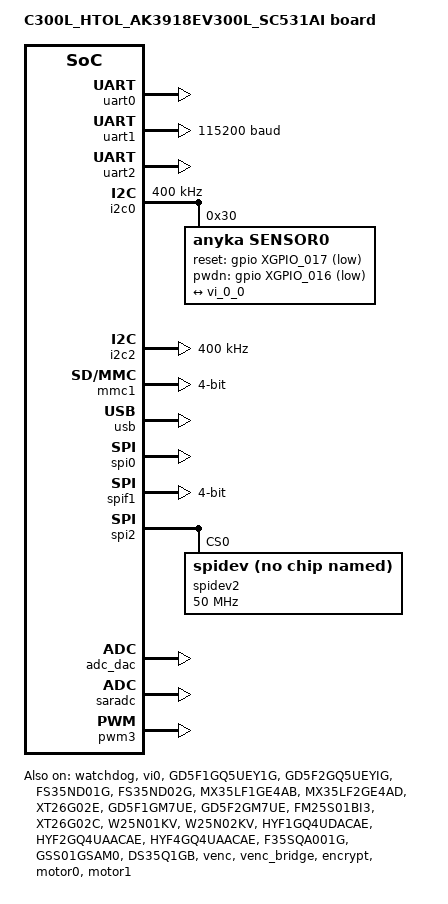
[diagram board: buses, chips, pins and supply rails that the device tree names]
/*
 * AK3918EV300L dev board dts
 *
 * Copyright (C) 2020 Anyka(Guangzhou) Microelectronics Technology Co., Ltd.
 *
 * This program is free software; you can redistribute it and/or modify
 * it under the terms of the GNU General Public License as published by
 * the Free Software Foundation; either version 2 of the License, or
 * (at your option) any later version.
 *
 * This program is distributed in the hope that it will be useful,
 * but WITHOUT ANY WARRANTY; without even the implied warranty of
 * MERCHANTABILITY or FITNESS FOR A PARTICULAR PURPOSE.  See the
 * GNU General Public License for more details.
 */

/dts-v1/;
#include "anycloud_ak3918ev300l_peri_max_freq.dtsi"
#include "anycloud_norflash.dtsi"
#include "anycloud_nandflash.dtsi"

/ {
    compatible = "anyka,ak3918ev300l";
    model = "C300L_HTOL_AK3918EV300L_SC531AI board";
    version = "V1.0.00";
};

&gpio {
    /*
    * "anyka,function": func index, please refer to dt-bindings/pinctrl/ak3918ev300l_pinctrl.h
    * "anyka,pull": configuration of the pins
    * bit[7:0]: pull up/down configuration
    *     bit[0]: pull up or pull down selection, 1 means select pull down, 0 means select pull up
    *     bit[4]: pull up or pull down enable, 1 means enable pull up&down function, 0 means disable fuction
    * !!! Notice that not all pin support pull up and pull down. Please refer to the programer's guide.
    * bit[11:8]: driver strength configuration.
    *     bit[9:8] drive strength.
    * bit[12:15] gpio direction
    *     bit[12]: direction. 0 is output, 1 is input
    *     bit[15]: enable direction. 1 is enable
    * bit[19:16]: input enable configuration
    *     bit[16]: 1 means enable input, 0 means disable input.
    * bit[20-23]: gpio output level
    *     bit[20]: 0 is low level, 1 is high level
    *     bit[23]: enable gpio output level. 1 is enable
    * bit[31:24]: pin slew rate configuration
    *     bit[24]: 1 means enable slew rate, 0 means disable slew rate.
    * !!! Notice OTHER bits which not mentioned please set to 0.
    */

    dvp0_12bits_pins: dvp0_12bits_pins {
        anyka,pins = <XGPIO_022
                         XGPIO_100
                         XGPIO_009
                         XGPIO_010
                         XGPIO_017
                         XGPIO_018
                         XGPIO_019
                         XGPIO_020
                         XGPIO_023
                         XGPIO_021
                         XGPIO_022
                         XGPIO_099
                         XGPIO_102
                         XGPIO_101
                         XGPIO_103
                         XGPIO_104>;
        anyka,function = <XGPIO_022_FUNC_CSI0_SCLK
                            XGPIO_100_FUNC_CSI_CLK
                            XGPIO_009_FUNC_CSI_HSYNC
                            XGPIO_010_FUNC_CSI_VSYNC
                            XGPIO_017_FUNC_CSI_D0
                            XGPIO_018_FUNC_CSI_D1
                            XGPIO_019_FUNC_CSI_D2
                            XGPIO_020_FUNC_CSI_D3
                            XGPIO_023_FUNC_CSI_D4
                            XGPIO_021_FUNC_CSI_D5
                            XGPIO_022_FUNC_CSI_D6
                            XGPIO_099_FUNC_CSI_D7
                            XGPIO_102_FUNC_CSI_D8
                            XGPIO_101_FUNC_CSI_D9
                            XGPIO_103_FUNC_CSI_D10
                            XGPIO_104_FUNC_CSI_D11>;
        anyka,pull = <0x00010010>;
    };

    dvp0_10bits_pins: dvp0_10bits_pins {
        anyka,pins = <XGPIO_100		//pclk
                         XGPIO_009	//hsync
                         XGPIO_010	//vsync
                         XGPIO_019	//d2
                         XGPIO_020	//d3
                         XGPIO_023	//d4
                         XGPIO_021	//d5
                         XGPIO_022	//d6
                         XGPIO_099	//d7
                         XGPIO_102	//d8
                         XGPIO_101	//d9
                         XGPIO_103	//d10
                         XGPIO_104>;//d11
        anyka,function = <XGPIO_100_FUNC_CSI_CLK
                            XGPIO_009_FUNC_CSI_HSYNC
                            XGPIO_010_FUNC_CSI_VSYNC
                            XGPIO_019_FUNC_CSI_D2
                            XGPIO_020_FUNC_CSI_D3
                            XGPIO_023_FUNC_CSI_D4
                            XGPIO_021_FUNC_CSI_D5
                            XGPIO_022_FUNC_CSI_D6
                            XGPIO_099_FUNC_CSI_D7
                            XGPIO_102_FUNC_CSI_D8
                            XGPIO_101_FUNC_CSI_D9
                            XGPIO_103_FUNC_CSI_D10
                            XGPIO_104_FUNC_CSI_D11>;
        anyka,pull = <0x00010010>;
    };

    dvp0_8bits_pins: dvp0_8bits_pins {
        anyka,pins = <XGPIO_022
                         XGPIO_100
                         XGPIO_009
                         XGPIO_010
                         XGPIO_017
                         XGPIO_018
                         XGPIO_019
                         XGPIO_020
                         XGPIO_023
                         XGPIO_021
                         XGPIO_022
                         XGPIO_099>;
        anyka,function = <XGPIO_022_FUNC_CSI0_SCLK
                            XGPIO_100_FUNC_CSI_CLK
                            XGPIO_009_FUNC_CSI_HSYNC
                            XGPIO_010_FUNC_CSI_VSYNC
                            XGPIO_017_FUNC_CSI_D0
                            XGPIO_018_FUNC_CSI_D1
                            XGPIO_019_FUNC_CSI_D2
                            XGPIO_020_FUNC_CSI_D3
                            XGPIO_023_FUNC_CSI_D4
                            XGPIO_021_FUNC_CSI_D5
                            XGPIO_022_FUNC_CSI_D6
                            XGPIO_099_FUNC_CSI_D7>;
        anyka,pull = <0x00010010>;
    };

    mipi0_3lane_pins: mipi0_3lane_pins {
        anyka,pins = <XGPIO_099
                        XGPIO_100
                        XGPIO_101
                        XGPIO_102
                        XGPIO_103
                        XGPIO_104>;
        anyka,function = <XGPIO_099_FUNC_MIPI_RX_L0P
                            XGPIO_100_FUNC_MIPI_RX_L0N
                            XGPIO_101_FUNC_MIPI_RX_L1P
                            XGPIO_102_FUNC_MIPI_RX_L1N
                            XGPIO_103_FUNC_MIPI_RX_L2P
                            XGPIO_104_FUNC_MIPI_RX_L2N>;
        anyka,pull = <0x00010010>;
    };

    csi0_sclk_pin: csi0_sclk_pin {
        anyka,pins = <XGPIO_022>;
        anyka,function = <XGPIO_022_FUNC_CSI0_SCLK>;
        anyka,pull = <0x00010010>;
    };

    i2c0_pins: i2c0_pins {
        anyka,pins = <XGPIO_020 XGPIO_021>;
        anyka,function = <XGPIO_020_FUNC_TWI0_SDA XGPIO_021_FUNC_TWI0_SCL>;
        anyka,pull = <0x10010>;
    };

    infrared_led_pins: infrared_led_pins {
        anyka,pins = <XGPIO_010>;
        anyka,function = <XGPIO_010_FUNC_GPIO10>;
        anyka,pull = <0x10>;
    };

    mci1_pins: mci1_pins {
        anyka,pins = <XGPIO_036
                        XGPIO_035
                        XGPIO_034
                        XGPIO_033
                        XGPIO_032
                        XGPIO_031>;
        anyka,function = <XGPIO_036_FUNC_SDIO0_DATA1
                            XGPIO_035_FUNC_SDIO0_DATA0
                            XGPIO_034_FUNC_SDIO0_MCLK
                            XGPIO_033_FUNC_SDIO0_CMD
                            XGPIO_032_FUNC_SDIO0_DATA3
                            XGPIO_031_FUNC_SDIO0_DATA2>;
        anyka,pull = <0x10010>;
    };

    /* 
     *  When using DATA3 as plugin and plugoff detect:
     *  1. Set XGPIO_032_FUNC_SDIO0_DATA3 pull up disable and pull down disable
     *  2. Using PULLDOWN RESISTANCE on PCB, for example, 510   KΩ.
    */      
    mci1_pins_d3_detect_mode: mci1_pins_d3_detect_mode {
        anyka,pins = <XGPIO_036
                        XGPIO_035
                        XGPIO_034
                        XGPIO_033
                        XGPIO_032
                        XGPIO_031>;
        anyka,function = <XGPIO_036_FUNC_SDIO0_DATA1
                            XGPIO_035_FUNC_SDIO0_DATA0
                            XGPIO_034_FUNC_SDIO0_MCLK
                            XGPIO_033_FUNC_SDIO0_CMD
                            XGPIO_032_FUNC_SDIO0_DATA3
                            XGPIO_031_FUNC_SDIO0_DATA2>;
        anyka,pull = <  0x10010 
                        0x10010
                        0x10010
                        0x10010
                        0x10001  /* disable pull down and pull up */
                        0x10010 >;
    };

    mci1_idle_pins: mci1_idle_pins {
        anyka,pins = <XGPIO_036
                        XGPIO_035
                        XGPIO_034
                        XGPIO_033
                        XGPIO_032
                        XGPIO_031>;
        anyka,function = <XGPIO_036_FUNC_GPIO36
                            XGPIO_035_FUNC_GPIO35
                            XGPIO_034_FUNC_GPIO34
                            XGPIO_033_FUNC_GPIO33
                            XGPIO_032_FUNC_GPIO32
                            XGPIO_031_FUNC_GPIO31>;
        anyka,pull = <0x0>;
    };

    tf_det_pins: tf_det_pins {
        anyka,pins = <XGPIO_098>;
        anyka,function = <XGPIO_098_FUNC_GPIO98>;
        anyka,pull = <0x10010>;
    };

    tf_en_pins: tf_en_pins {
        anyka,pins = <XGPIO_050>;
        anyka,function = <XGPIO_050_FUNC_GPIO50>;
        anyka,pull = <0x10010>;
    };

    speaker_en_pins: speaker_en_pins {
        anyka,pins = <XGPIO_006>;
        anyka,function = <XGPIO_006_FUNC_GPIO6>;
		anyka,pull = <0x00808000>;
    };

    state_led_pin: state_led_pin {
        anyka,pins = <XGPIO_065>;
        anyka,function = <XGPIO_065_FUNC_GPIO65>;
        anyka,pull = <0x10>;
    };
    
    i2c2_pins: i2c2_pins {
        anyka,pins = <XGPIO_004 XGPIO_005>;
        anyka,function = <XGPIO_004_FUNC_TWI2_SCL XGPIO_005_FUNC_TWI2_SDA>;
        anyka,pull = <0x10010>;
    };


    pwm3_pins: pwm3_pins {
        anyka,pins = <XGPIO_002>;
        anyka,function = <XGPIO_002_FUNC_PWM3>;
        anyka,pull = <0x10>;
    };

    pwm3_pins_idle: pwm3_pins_idle {
        anyka,pins = <XGPIO_002>;
        anyka,function = <XGPIO_002_FUNC_GPIO2>;
        anyka,pull = <0x00808000>;
    };

    pwm1_pins: pwm1_pins {
        anyka,pins = <XGPIO_027>;
        anyka,function = <XGPIO_027_FUNC_PWM1>;
        anyka,pull = <0x10>;
    };
    pwm1_pins_idle: pwm1_pins_idle {
        anyka,pins = <XGPIO_027>;
        anyka,function = <XGPIO_027_FUNC_GPIO27>;
        anyka,pull = <0x00808000>;
    };

    saradc_pins: saradc_pins {
        anyka,pins = <XGPIO_070 XGPIO_071>;
        anyka,function = <XGPIO_070_FUNC_AIN1 XGPIO_071_FUNC_AIN0>;
        anyka,pull = <0x0000000>;
    };

    spi2_pins: spi2_pins {
        anyka,pins = <XGPIO_069
                        XGPIO_066
                        XGPIO_067
                        XGPIO_058
                        XGPIO_065>;
        anyka,function = <XGPIO_069_FUNC_SPI2_DOUT
                            XGPIO_066_FUNC_SPI2_CLK
                            XGPIO_067_FUNC_SPI2_DIN
                            XGPIO_058_FUNC_GPIO58
                            XGPIO_065_FUNC_SPI2_CS0>;
        anyka,pull = <0x00010000>;
    };

    uart1_pins: uart1_pins {
        /* uart1 without flow control*/
        anyka,pins = <XGPIO_049 XGPIO_048>;
        anyka,function = <XGPIO_049_FUNC_UART1_RXD XGPIO_048_FUNC_UART1_TXD>;
        anyka,pull = <0x00010010 0x00010010>;
    };

    uart2_pins: uart2_pins {
        /* uart1 without flow control */
        anyka,pins = <XGPIO_055 XGPIO_056>;
        anyka,function = <XGPIO_055_FUNC_UART2_RXD XGPIO_056_FUNC_UART2_TXD>;
        anyka,pull = <0x00010010 0x00010010>;
    };

    uart2_pins_sleep: uart2_pins_sleep {
        /* uart1 without flow control */
        anyka,pins = <XGPIO_055 XGPIO_056>;
        anyka,function = <XGPIO_055_FUNC_GPIO55 XGPIO_056_FUNC_GPIO56>;
        anyka,pull = <0x00000000>;
    };

    /* function: 0 means gpio */
    motor0_pins: motor0_pins {
        anyka,pins = <XGPIO_056 XGPIO_055 XGPIO_000 XGPIO_001>;
        anyka,function = <0>;
        anyka,pull = <0x00000010>;
    };

    motor1_pins: motor1_pins {
        anyka,pins = <XGPIO_002 XGPIO_003 XGPIO_049 XGPIO_048>;
        anyka,function = <0>;
        anyka,pull = <0x00000010>;
    };
	
	gpiokey_pins:gpiokey_pins {
		anyka,pins = <XGPIO_024>;
		anyka,function = <XGPIO_024_FUNC_GPIO24>;
		anyka,pull = <0x00010000>;
	};
};

&uart0 {
    pinctrl-names = "default";
    pinctrl-0 = <&uart0_pins>;
    status = "okay";
};
&uart1 {
    pinctrl-names = "default";
    pinctrl-0 = <&uart1_pins>;
    current-speed = <115200>;
    status = "okay";
};
&uart2 {
    pinctrl-names = "default";
    pinctrl-0 = <&uart2_pins>;
    status = "okay";
};

&watchdog {
    status = "okay";
};

&vi0{
    pinctrl-names = "dvp0_12bits", "dvp0_10bits", "dvp0_8bits",
	/*
        "mipi0_2lane", "mipi0_1lane",
		*/
        "csi0_sclk";
    pinctrl-0 = <&dvp0_12bits_pins>;
    pinctrl-1 = <&dvp0_10bits_pins>;
    pinctrl-2 = <&dvp0_8bits_pins>;
    pinctrl-3 = <&csi0_sclk_pin>;

	/*
    pinctrl-4 = <&mipi0_2lane_pins>;
    pinctrl-5 = <&mipi0_1lane_pins>;
	*/
    status = "okay";

	csi_mipi_lane_swap = <
		SENSOR_D0	//L0
		SENSOR_C0	//L1
		SENSOR_D1	//L2
		>;//MIPI_RX_L0~2.
	csi_mipi_dndp_swap = <
		MIPI_DNDP_NOSWAP	//L0
		MIPI_DNDP_NOSWAP	//L1
		MIPI_DNDP_NOSWAP	//L2
	>;//MIPI_RX_L0~2. 0: noswap; others: swap

	port@0 {
		#address-cells = <1>;
		#size-cells = <0>;

		vi_0_0: endpoint@0 {
			reg = <0>;
			remote-endpoint = <&sensor0_0>;
		};
	};
};

&i2c0 {
    pinctrl-names = "default";
    pinctrl-0 = <&i2c0_pins>;
    
    clock-frequency = <400000>;
    status = "okay";
	#address-cells = <1>;
	#size-cells = <0>;
    
	sensor0: camera@0x30{
		compatible = "anyka,sensor0";
		reg = <0x30>;

		/*0xffff means the gpio is invalid*/
		reset-gpio = <&gpio XGPIO_017 1>;
		pwdn-gpio = <&gpio XGPIO_016 1>;

		port {
			sensor0_0: endpoint@0 {
				remote-endpoint = <&vi_0_0>;
			};
		};
	};
};

&i2c2 {
    pinctrl-names = "default";
    pinctrl-0 = <&i2c2_pins>;
    clock-frequency = <400000>;
    status = "okay";
	#address-cells = <1>;
	#size-cells = <0>;
};

/* mmc1 card detect using detect-gpio or detect-gpios */
&mmc1 {
    bus-width = <0x4>;
    max-frequency = <25000000>;
    detect-gpio = <&gpio XGPIO_037 1>; 
    cap-sd-highspeed;
    pinctrl-names = "default","idle";
    pinctrl-0 = <&mci1_pins>,<&tf_en_pins>,<&tf_det_pins>;
    pinctrl-1 = <&mci1_idle_pins>; 
    power-pins = <&gpio XGPIO_098 1>; 
    power-inverted;
    status = "okay"; 
};

&usb {
    status = "okay";
};

&spi0 {
    pinctrl-names = "default";
    pinctrl-0 = <&spiflash_pins>;
    spi-bus-frequency = <100000000>;
    /*
     * cap-spi-highspeed;
     * if defined, means high speed controller(Maximum 100M/s);
     * if not, means normal speed controller(below 80M/s)
     */
    cap-spi-highspeed;
    status = "okay";
};

&spif1 {
    /* spi flash data bus width:
    ** 1 means 1 wire mode.
    ** 2 means 2 wire mode
    ** 4 means 4 wire mode.
    ** default: 4 wire mode.
    **/
    bus-width = <4>;
    status = "okay";
};


&spi2 {
    pinctrl-names = "default";
    pinctrl-0 = <&spi2_pins>;
    spi-bus-frequency = <50000000>;
    status = "okay";

    spidev2: spidev@2 {
        compatible = "rohm,dh2228fv";
        reg = <0>; // Chip select
        spi-max-frequency = <50000000>;
        status = "okay";
    };
};

&GD5F1GQ5UEY1G{
    status = "okay";
};

&GD5F2GQ5UEYIG{
    status = "okay";
};

&FS35ND01G{
    status = "okay";
};

&FS35ND02G{
    status = "okay";
};

&MX35LF1GE4AB{
    status = "okay";
};

&MX35LF2GE4AD{
    status = "okay";
};

&XT26G02E{
    status = "okay";
};

&GD5F1GM7UE{
    status = "okay";
};

&GD5F2GM7UE{
    status = "okay";
};

&FM25S01BI3{
    status = "okay";
};

&XT26G02C{
  status = "okay";
};

&W25N01KV{
  status = "okay";
};

&W25N02KV{
  status = "okay";
};

&HYF1GQ4UDACAE{
  status = "okay";
};

&HYF2GQ4UAACAE{
  status = "okay";
};

&HYF4GQ4UAACAE{
  status = "okay";
};

&F35SQA001G{
    status = "okay";
};

&GSS01GSAM0{
    status = "okay";
};

&DS35Q1GB{
    status = "okay";
};

&adc_dac {
    pinctrl-names = "default";
    pinctrl-0 = <&speaker_en_pins>;
    speak-gpios = <&gpio XGPIO_006 1>;
    pd-hpvcm = <1>;
    /*
    * The level of speak-gpios votage for power on audio: 0=low, 1=high
    */
    speak-gpios-en = <1>;
    status = "okay";

    dev0 {
        snd-dev = <SND_CARD_DAC_PLAYBACK>;
        snd-type = <AK_PCM_DEV_PLAYBACK>;
    };

    dev1 {
        snd-dev = <SND_CARD_ADC_CAPTURE>;
        snd-type = <AK_PCM_DEV_CAPTURE>;
    };

    dev2 {
        snd-dev = <SND_CARD_DAC_LOOPBACK>;
        snd-type = <AK_PCM_DEV_LOOPBACK>;
    };
};

&venc {
    status = "okay";
};

&venc_bridge{
     status = "okay";
};

&adkeys {
    /*
    * poll interval: ms
    * debounce interval: ms
    */
    interval = <120>;
    debounce_interval = <20>;
    /*
    * if pressed-input = 0, input 0 when key is pressed, else input 1.
    */
    pressed-input = <0>;
    status = "okay";

    addet0 {
        unpress_min = <0>;
        unpress_max = <3200>;
        adc_index = <1>;
        adc_channel = <0>;

        key1 {
            linux,code = <102>; 
            min = <0>;
            max = <50>;
        };
    };
};

&saradc {
    pinctrl-names = "default";
    pinctrl-0 = <&saradc_pins>;

    /*
	 * SAR ADC VREF selection
     * 	0:To select HPVDD 3.3V as VREF for SAR ADC.
     * 	1:To select 3.0V generated from DDR as VREF for SAR ADC.
     */
    vref-select = <0>;

    /*
     * Sampling number
     * 	Read the sampling data for N times and then calculate the average value.
     * 	N ranges from 1 to 7.
     */
    sampling-num = <3>;
    status = "okay";
};

&encrypt{
    status = "okay"; 
};

&pwm3 {
	pinctrl-names = "default", "idle";
    pinctrl-0 = <&pwm3_pins>;
	pinctrl-1 = <&pwm3_pins_idle>;
	period-ns = <500>;
	duty-ns = <100>;
	pwm-enable = <1>;
	status = "okay";
};

&pwm1 {
	pinctrl-names = "default";
    pinctrl-0 = <&pwm1_pins>;
	period-ns = <500>;
	duty-ns = <250>;
	pwm-enable = <1>;
	status = "disable";
};

&motor0 {
	/*
	 * part-number: part name
	 * pwm-tbl-cw: pwm table int clkwise
	 * pwm-pins: gpio list to motor
	 * steps-one-circle: total steps one circle (360degree)
	 *
	 * total-steps:	total steps the motor can run
	 * boundary-steps: reserve some step for each boudary
	 * attach-timer: timer for the motor
	 *					NOTE: different motor attach different timer
	 *
	 * speed-step: speed in step
	 */

	pinctrl-names = "default";
	pinctrl-0 = <&motor0_pins>;

	part-number = "HZF-24BYJ48";
	pwm-tbl-cw = <0x09 0x01 0x03 0x02 0x06 0x04 0x0c 0x08>;
	pwm-pins = <XGPIO_056 XGPIO_055 XGPIO_000 XGPIO_001>;
	steps-one-circle = <4096>;
	total-steps = <2500>;
	boundary-steps = <50>;
	attach-timer = <2>;

	speed-step = <200>;

	status = "okay";
};

&motor1 {
	/*
	 * part-number: part name
	 * pwm-tbl-cw: pwm table int clkwise
	 * pwm-pins: gpio list to motor
	 * steps-one-circle: total steps one circle (360degree)
	 *
	 * total-steps:	total steps the motor can run
	 * boundary-steps: reserve some step for each boudary
	 * attach-timer: timer for the motor
	 *					NOTE: different motor attach different timer
	 *
	 * speed-step: speed in step
	 */

	pinctrl-names = "default";
	pinctrl-0 = <&motor1_pins>;

	part-number = "HZF-24BYJ48";
	pwm-tbl-cw = <0x09 0x01 0x03 0x02 0x06 0x04 0x0c 0x08>;
	pwm-pins = <XGPIO_002 XGPIO_003 XGPIO_049 XGPIO_048>;
	steps-one-circle = <4096>;

	total-steps = <600>;
	boundary-steps = <50>;
	attach-timer = <3>;

	speed-step = <200>;

	status = "okay";
};

&leds {
    pinctrl-names = "default";
    pinctrl-0 = <&infrared_led_pins>,<&state_led_pin>;
    status = "disable";

    ir_led {
        label = "irled";
        gpios = <&gpio XGPIO_065 GPIO_ACTIVE_HIGH>;
    };

    state_led {
       label = "state_led";
       gpios = <&gpio XGPIO_010 GPIO_ACTIVE_HIGH>;
       default-state = "off";
     };
};

&gpiokeys {
	#address-cells = <1>;
	#size-cells = <0>;
	pinctrl-0 = <&gpiokey_pins>;
	pinctrl-names = "default";
	status = "okay";

	reset {
        label = "reset_key";
        gpios = <&gpio XGPIO_024 GPIO_ACTIVE_LOW>;
        linux,code = <116>;
        debounce-interval = <100>;
	};
};
